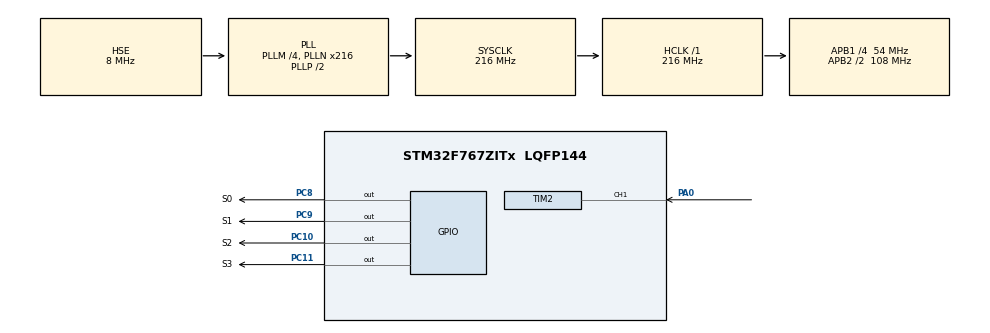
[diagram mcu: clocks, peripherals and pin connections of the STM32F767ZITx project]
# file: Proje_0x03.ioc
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Mcu.Family=STM32F7
Mcu.Name=STM32F767ZITx
Mcu.Package=LQFP144
NVIC.PriorityGroup=NVIC_PRIORITYGROUP_4
NVIC.TIM2_IRQn=true\:0\:0\:false\:false\:true\:true\:true\:true
PA0/WKUP.Signal=S_TIM2_CH1_ETR
PA13.Mode=Serial_Wire
PA13.Signal=SYS_JTMS-SWDIO
PA14.Mode=Serial_Wire
PA14.Signal=SYS_JTCK-SWCLK
PC10.GPIO_Label=S2
PC10.Signal=GPIO_Output
PC11.GPIO_Label=S3
PC11.Signal=GPIO_Output
PC8.GPIO_Label=S0
PC8.Signal=GPIO_Output
PC9.GPIO_Label=S1
PC9.Signal=GPIO_Output
PH0/OSC_IN.Mode=HSE-External-Oscillator
PH0/OSC_IN.Signal=RCC_OSC_IN
PH1/OSC_OUT.Mode=HSE-External-Oscillator
PH1/OSC_OUT.Signal=RCC_OSC_OUT
ProjectManager.HeapSize=0x200
ProjectManager.StackSize=0x400
ProjectManager.TargetToolchain=STM32CubeIDE
RCC.48MHZClocksFreq_Value=24000000
RCC.AHBFreq_Value=216000000
RCC.APB1CLKDivider=RCC_HCLK_DIV4
RCC.APB1Freq_Value=54000000
RCC.APB1TimFreq_Value=108000000
RCC.APB2CLKDivider=RCC_HCLK_DIV2
RCC.APB2Freq_Value=108000000
RCC.APB2TimFreq_Value=216000000
RCC.CortexFreq_Value=216000000
RCC.HCLKFreq_Value=216000000
RCC.HSE_VALUE=8000000
RCC.HSI_VALUE=16000000
RCC.LSE_VALUE=32768
RCC.PLLM=4
RCC.PLLMUL=RCC_PLL_MUL9
RCC.PLLN=216
RCC.PLLQ=4
RCC.PLLSourceVirtual=RCC_PLLSOURCE_HSE
RCC.PRESCALERUSB=RCC_USBCLKSOURCE_PLL_DIV1_5
RCC.SYSCLKFreq_VALUE=216000000
RCC.SYSCLKSource=RCC_SYSCLKSOURCE_PLLCLK
RCC.SYSCLKSourceVirtual=RCC_SYSCLKSOURCE_PLLCLK
RCC.USBFreq_Value=108000000
RCC.VCOOutputFreq_Value=432000000
SH.S_TIM2_CH1_ETR.0=TIM2_CH1,Input_Capture1_from_TI1
TIM2.AutoReloadPreload=TIM_AUTORELOAD_PRELOAD_ENABLE
TIM2.Channel-Input_Capture1_from_TI1=TIM_CHANNEL_1
TIM2.Period=0xFFFFFFFF
TIM2.Prescaler=2015
board=NUCLEO-F767ZI

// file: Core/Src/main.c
/* USER CODE BEGIN Header */
/**
  ******************************************************************************
  * @file           : main.c
  * @brief          : Main program body
  ******************************************************************************
  * @attention
  *
  * Copyright (c) 2025 STMicroelectronics.
  * All rights reserved.
  *
  * This software is licensed under terms that can be found in the LICENSE file
  * in the root directory of this software component.
  * If no LICENSE file comes with this software, it is provided AS-IS.
  *
  ******************************************************************************
  */
/* USER CODE END Header */
#include "main.h"

/* USER CODE BEGIN Includes */
#include "tcs3200.h"
/* USER CODE END Includes */

TIM_HandleTypeDef htim2;

/* USER CODE BEGIN PV */
uint32_t Global_Frequency;
uint32_t R,G,B;
/* USER CODE BEGIN PV */
void MY_SetS0(uint8_t state) {
    HAL_GPIO_WritePin(S0_GPIO_Port, S0_Pin, state ? GPIO_PIN_SET : GPIO_PIN_RESET);
}

void MY_SetS1(uint8_t state) {
    HAL_GPIO_WritePin(S1_GPIO_Port, S1_Pin, state ? GPIO_PIN_SET : GPIO_PIN_RESET);
}

void MY_SetS2(uint8_t state) {
    HAL_GPIO_WritePin(S2_GPIO_Port, S2_Pin, state ? GPIO_PIN_SET : GPIO_PIN_RESET);
}

void MY_SetS3(uint8_t state) {
    HAL_GPIO_WritePin(S3_GPIO_Port, S3_Pin, state ? GPIO_PIN_SET : GPIO_PIN_RESET);
}
void MY_Delay(uint32_t ms) {
    HAL_Delay(ms);
}

uint32_t MY_GetFreq(void) {
    // Input Capture kesmesi (interrupt) arka planda Global_Frequency'yi güncelliyor.
    // Biz sadece o değeri döndürüyoruz.
    return Global_Frequency;
}

/* USER CODE END PV */

void SystemClock_Config(void);
static void MX_GPIO_Init(void);
static void MX_TIM2_Init(void);

int main(void)
{

  /* USER CODE BEGIN 1 */
TCS3200_Handle_t myColorSensor;

  /* USER CODE END 1 */

  /* MCU Configuration--------------------------------------------------------*/

  /* Reset of all peripherals, Initializes the Flash interface and the Systick. */
  HAL_Init();

  /* Configure the system clock */
  SystemClock_Config();

  /* Initialize all configured peripherals */
  MX_GPIO_Init();
  MX_TIM2_Init();
  /* USER CODE BEGIN 2 */
  HAL_TIM_IC_Start_IT(&htim2, TIM_CHANNEL_1);

  	  TCS3200_Hardware_t tcs_hw;
      tcs_hw.SetPin_S0 = MY_SetS0;
      tcs_hw.SetPin_S1 = MY_SetS1;
      tcs_hw.SetPin_S2 = MY_SetS2;
      tcs_hw.SetPin_S3 = MY_SetS3;
      tcs_hw.SetPin_OE = NULL;
      tcs_hw.Delay_ms  = MY_Delay;
      tcs_hw.Get_Frequency = MY_GetFreq;

      TCS3200_Init(&myColorSensor, tcs_hw);
      TCS3200_SetScale(&myColorSensor, TCS_SCALE_20_PERCENT);
      TCS3200_SetCalibration(&myColorSensor, 50, 1500, 60, 1600, 40, 1400);
  /* USER CODE END 2 */

  /* Infinite loop */
  while (1)
  {

    /* USER CODE BEGIN 3 */
	  TCS3200_Process(&myColorSensor);
	  R = myColorSensor.R_Value;
	  G = myColorSensor.G_Value;
	  B = myColorSensor.B_Value;
  }
  /* USER CODE END 3 */
}

void SystemClock_Config(void)
{
  RCC_OscInitTypeDef RCC_OscInitStruct = {0};
  RCC_ClkInitTypeDef RCC_ClkInitStruct = {0};

  /** Configure the main internal regulator output voltage
  */
  __HAL_RCC_PWR_CLK_ENABLE();
  __HAL_PWR_VOLTAGESCALING_CONFIG(PWR_REGULATOR_VOLTAGE_SCALE1);

  /** Initializes the RCC Oscillators according to the specified parameters
  * in the RCC_OscInitTypeDef structure.
  */
  RCC_OscInitStruct.OscillatorType = RCC_OSCILLATORTYPE_HSE;
  RCC_OscInitStruct.HSEState = RCC_HSE_ON;
  RCC_OscInitStruct.PLL.PLLState = RCC_PLL_ON;
  RCC_OscInitStruct.PLL.PLLSource = RCC_PLLSOURCE_HSE;
  RCC_OscInitStruct.PLL.PLLM = 4;
  RCC_OscInitStruct.PLL.PLLN = 216;
  RCC_OscInitStruct.PLL.PLLP = RCC_PLLP_DIV2;
  RCC_OscInitStruct.PLL.PLLQ = 4;
  RCC_OscInitStruct.PLL.PLLR = 2;
  if (HAL_RCC_OscConfig(&RCC_OscInitStruct) != HAL_OK)
  {
    Error_Handler();
  }

  /** Activate the Over-Drive mode
  */
  if (HAL_PWREx_EnableOverDrive() != HAL_OK)
  {
    Error_Handler();
  }

  /** Initializes the CPU, AHB and APB buses clocks
  */
  RCC_ClkInitStruct.ClockType = RCC_CLOCKTYPE_HCLK|RCC_CLOCKTYPE_SYSCLK
                              |RCC_CLOCKTYPE_PCLK1|RCC_CLOCKTYPE_PCLK2;
  RCC_ClkInitStruct.SYSCLKSource = RCC_SYSCLKSOURCE_PLLCLK;
  RCC_ClkInitStruct.AHBCLKDivider = RCC_SYSCLK_DIV1;
  RCC_ClkInitStruct.APB1CLKDivider = RCC_HCLK_DIV4;
  RCC_ClkInitStruct.APB2CLKDivider = RCC_HCLK_DIV2;

  if (HAL_RCC_ClockConfig(&RCC_ClkInitStruct, FLASH_LATENCY_7) != HAL_OK)
  {
    Error_Handler();
  }
}

static void MX_TIM2_Init(void)
{

  TIM_MasterConfigTypeDef sMasterConfig = {0};
  TIM_IC_InitTypeDef sConfigIC = {0};

  htim2.Instance = TIM2;
  htim2.Init.Prescaler = 2015;
  htim2.Init.CounterMode = TIM_COUNTERMODE_UP;
  htim2.Init.Period = 0xFFFFFFFF;
  htim2.Init.ClockDivision = TIM_CLOCKDIVISION_DIV1;
  htim2.Init.AutoReloadPreload = TIM_AUTORELOAD_PRELOAD_ENABLE;
  if (HAL_TIM_IC_Init(&htim2) != HAL_OK)
  {
    Error_Handler();
  }
  sMasterConfig.MasterOutputTrigger = TIM_TRGO_RESET;
  sMasterConfig.MasterSlaveMode = TIM_MASTERSLAVEMODE_DISABLE;
  if (HAL_TIMEx_MasterConfigSynchronization(&htim2, &sMasterConfig) != HAL_OK)
  {
    Error_Handler();
  }
  sConfigIC.ICPolarity = TIM_INPUTCHANNELPOLARITY_RISING;
  sConfigIC.ICSelection = TIM_ICSELECTION_DIRECTTI;
  sConfigIC.ICPrescaler = TIM_ICPSC_DIV1;
  sConfigIC.ICFilter = 0;
  if (HAL_TIM_IC_ConfigChannel(&htim2, &sConfigIC, TIM_CHANNEL_1) != HAL_OK)
  {
    Error_Handler();
  }

}

static void MX_GPIO_Init(void)
{
  GPIO_InitTypeDef GPIO_InitStruct = {0};

  /* GPIO Ports Clock Enable */
  __HAL_RCC_GPIOH_CLK_ENABLE();
  __HAL_RCC_GPIOA_CLK_ENABLE();
  __HAL_RCC_GPIOC_CLK_ENABLE();

  /*Configure GPIO pin Output Level */
  HAL_GPIO_WritePin(GPIOC, S0_Pin|S1_Pin|S2_Pin|S3_Pin, GPIO_PIN_RESET);

  /*Configure GPIO pins : S0_Pin S1_Pin S2_Pin S3_Pin */
  GPIO_InitStruct.Pin = S0_Pin|S1_Pin|S2_Pin|S3_Pin;
  GPIO_InitStruct.Mode = GPIO_MODE_OUTPUT_PP;
  GPIO_InitStruct.Pull = GPIO_NOPULL;
  GPIO_InitStruct.Speed = GPIO_SPEED_FREQ_LOW;
  HAL_GPIO_Init(GPIOC, &GPIO_InitStruct);

}

void Error_Handler(void)
{
  __disable_irq();
  while (1)
  {
  }
}
